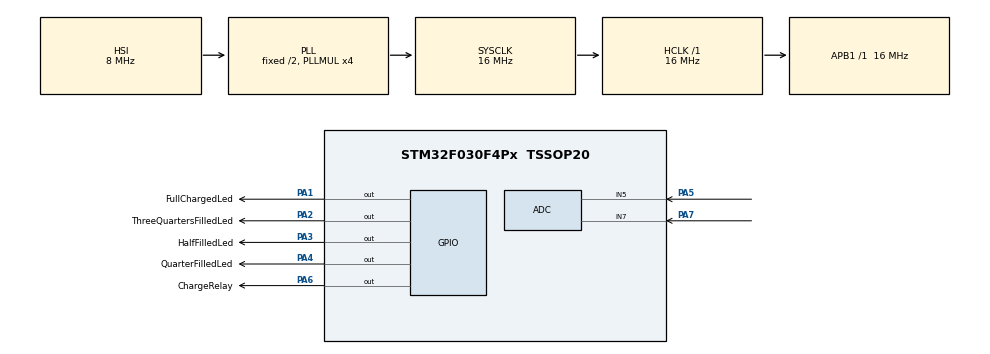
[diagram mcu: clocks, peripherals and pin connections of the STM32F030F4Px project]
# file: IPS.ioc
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ADC.ContinuousConvMode=ENABLE
ADC.DMAContinuousRequests=ENABLE
ADC.SamplingTime=ADC_SAMPLETIME_239CYCLES_5
Dma.ADC.0.Direction=DMA_PERIPH_TO_MEMORY
Dma.ADC.0.Instance=DMA1_Channel1
Dma.ADC.0.MemDataAlignment=DMA_MDATAALIGN_WORD
Dma.ADC.0.MemInc=DMA_MINC_ENABLE
Dma.ADC.0.Mode=DMA_CIRCULAR
Dma.ADC.0.PeriphDataAlignment=DMA_PDATAALIGN_WORD
Dma.ADC.0.PeriphInc=DMA_PINC_DISABLE
Dma.ADC.0.Priority=DMA_PRIORITY_LOW
Dma.Request0=ADC
Mcu.Family=STM32F0
Mcu.Name=STM32F030F4Px
Mcu.Package=TSSOP20
NVIC.DMA1_Channel1_IRQn=true\:0\:0\:false\:false\:true\:false\:true\:true
PA1.GPIO_Label=FullChargedLed
PA1.PinState=GPIO_PIN_RESET
PA1.Signal=GPIO_Output
PA13.Mode=Serial_Wire
PA13.Signal=SYS_SWDIO
PA14.Mode=Serial_Wire
PA14.Signal=SYS_SWCLK
PA2.GPIO_Label=ThreeQuartersFilledLed
PA2.Signal=GPIO_Output
PA3.GPIO_Label=HalfFilledLed
PA3.Signal=GPIO_Output
PA4.GPIO_Label=QuarterFilledLed
PA4.PinState=GPIO_PIN_RESET
PA4.Signal=GPIO_Output
PA5.Mode=IN5
PA5.Signal=ADC_IN5
PA6.GPIO_Label=ChargeRelay
PA6.Signal=GPIO_Output
PA7.Mode=IN7
PA7.Signal=ADC_IN7
ProjectManager.HeapSize=0x200
ProjectManager.StackSize=0x400
ProjectManager.TargetToolchain=STM32CubeIDE
RCC.AHBFreq_Value=16000000
RCC.APB1Freq_Value=16000000
RCC.APB1TimFreq_Value=16000000
RCC.HCLKFreq_Value=16000000
RCC.PLLMUL=RCC_PLL_MUL4
RCC.SYSCLKFreq_VALUE=16000000
RCC.SYSCLKSource=RCC_SYSCLKSOURCE_PLLCLK
board=custom

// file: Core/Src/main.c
/* USER CODE BEGIN Header */
/**
  ******************************************************************************
  * @file           : main.c
  * @brief          : Main program body
  ******************************************************************************
  * @attention
  *
  * Copyright (c) 2022 STMicroelectronics.
  * All rights reserved.
  *
  * This software is licensed under terms that can be found in the LICENSE file
  * in the root directory of this software component.
  * If no LICENSE file comes with this software, it is provided AS-IS.
  *
  ******************************************************************************
  */
/* USER CODE END Header */
#include "main.h"

/* USER CODE BEGIN PTD */
uint32_t value[2];
uint8_t Charging;
uint32_t StartChargingTime;

uint32_t Voltage;

/* USER CODE END PTD */

 ADC_HandleTypeDef hadc;
DMA_HandleTypeDef hdma_adc;

void SystemClock_Config(void);
static void MX_GPIO_Init(void);
static void MX_DMA_Init(void);
static void MX_ADC_Init(void);

/* USER CODE BEGIN 0 */
void StartCharging(){
	HAL_GPIO_WritePin(ChargeRelay_GPIO_Port, ChargeRelay_Pin, GPIO_PIN_SET);
	Charging=1;
	StartChargingTime=HAL_GetTick();
}

void StopCharging(){
	HAL_GPIO_WritePin(ChargeRelay_GPIO_Port, ChargeRelay_Pin, GPIO_PIN_RESET);
	Charging=0;
}

/* USER CODE END 0 */

int main(void)
{

  /* MCU Configuration--------------------------------------------------------*/

  /* Reset of all peripherals, Initializes the Flash interface and the Systick. */
  HAL_Init();

  /* Configure the system clock */
  SystemClock_Config();

  /* Initialize all configured peripherals */
  MX_GPIO_Init();
  MX_DMA_Init();
  MX_ADC_Init();
  /* USER CODE BEGIN 2 */
//  HAL_GPIO_TogglePin(GPIOA, GPIO_PIN_4);
//  HAL_Delay(1000);
//  HAL_GPIO_TogglePin(GPIOA, GPIO_PIN_4);
//  HAL_Delay(1000);

  HAL_ADC_Start_DMA(&hadc, value, 2);
  HAL_ADCEx_Calibration_Start(&hadc);

  HAL_GPIO_WritePin(QuarterFilledLed_GPIO_Port, QuarterFilledLed_Pin, GPIO_PIN_SET);
//  StartCharging();

  /* USER CODE END 2 */

  /* Infinite loop */
  /* USER CODE BEGIN WHILE */

/////!!!!!!!!!!!!!!!!!!!!!! Hamid's Important Note !!!!!!!!!!!!!!!!!!!!!!!!!!!!!!!!!
//the main clock speed has to be higher than the adc clock speed otherwise the loop will halt

  while (1)
  {

	  Voltage=42*(330/4)*value[0];

	  if (Charging && HAL_GetTick()-StartChargingTime>120000)
	  {
		  StopCharging();
	  }

	  if (!Charging)
	  {
	  if (value[0]<3300)
	  {
		 HAL_GPIO_WritePin(FullChargedLed_GPIO_Port, FullChargedLed_Pin, GPIO_PIN_RESET);
	  }

	  if (value[0]<3250)
	  {
		 HAL_GPIO_WritePin(ThreeQuartersFilledLed_GPIO_Port, ThreeQuartersFilledLed_Pin, GPIO_PIN_RESET);
	  }

	  if (value[0]<3200)
	  {
		 HAL_GPIO_WritePin(HalfFilledLed_GPIO_Port, HalfFilledLed_Pin, GPIO_PIN_RESET);
	  }

	  if (value[0]>3300)
	  {
//		 HAL_GPIO_WritePin(ChargeRelay_GPIO_Port, ChargeRelay_Pin, GPIO_PIN_RESET);
		 HAL_GPIO_WritePin(FullChargedLed_GPIO_Port, FullChargedLed_Pin, GPIO_PIN_SET);
	  }

	  if (value[0]>3250)
	  {
		 HAL_GPIO_WritePin(ThreeQuartersFilledLed_GPIO_Port, ThreeQuartersFilledLed_Pin, GPIO_PIN_SET);
	  }

	  if (value[0]>3200)
	  {
		 HAL_GPIO_WritePin(HalfFilledLed_GPIO_Port, HalfFilledLed_Pin, GPIO_PIN_SET);
	  }

	  if (value[0]<3600)
	  {
		 StartCharging();
	  }

	  }

    /* USER CODE END WHILE */

  }
}

void SystemClock_Config(void)
{
  RCC_OscInitTypeDef RCC_OscInitStruct = {0};
  RCC_ClkInitTypeDef RCC_ClkInitStruct = {0};

  /** Initializes the RCC Oscillators according to the specified parameters
  * in the RCC_OscInitTypeDef structure.
  */
  RCC_OscInitStruct.OscillatorType = RCC_OSCILLATORTYPE_HSI|RCC_OSCILLATORTYPE_HSI14;
  RCC_OscInitStruct.HSIState = RCC_HSI_ON;
  RCC_OscInitStruct.HSI14State = RCC_HSI14_ON;
  RCC_OscInitStruct.HSICalibrationValue = RCC_HSICALIBRATION_DEFAULT;
  RCC_OscInitStruct.HSI14CalibrationValue = 16;
  RCC_OscInitStruct.PLL.PLLState = RCC_PLL_ON;
  RCC_OscInitStruct.PLL.PLLSource = RCC_PLLSOURCE_HSI;
  RCC_OscInitStruct.PLL.PLLMUL = RCC_PLL_MUL4;
  RCC_OscInitStruct.PLL.PREDIV = RCC_PREDIV_DIV1;
  if (HAL_RCC_OscConfig(&RCC_OscInitStruct) != HAL_OK)
  {
    Error_Handler();
  }

  /** Initializes the CPU, AHB and APB buses clocks
  */
  RCC_ClkInitStruct.ClockType = RCC_CLOCKTYPE_HCLK|RCC_CLOCKTYPE_SYSCLK
                              |RCC_CLOCKTYPE_PCLK1;
  RCC_ClkInitStruct.SYSCLKSource = RCC_SYSCLKSOURCE_PLLCLK;
  RCC_ClkInitStruct.AHBCLKDivider = RCC_SYSCLK_DIV1;
  RCC_ClkInitStruct.APB1CLKDivider = RCC_HCLK_DIV1;

  if (HAL_RCC_ClockConfig(&RCC_ClkInitStruct, FLASH_LATENCY_0) != HAL_OK)
  {
    Error_Handler();
  }
}

static void MX_ADC_Init(void)
{

  ADC_ChannelConfTypeDef sConfig = {0};

  /** Configure the global features of the ADC (Clock, Resolution, Data Alignment and number of conversion)
  */
  hadc.Instance = ADC1;
  hadc.Init.ClockPrescaler = ADC_CLOCK_ASYNC_DIV1;
  hadc.Init.Resolution = ADC_RESOLUTION_12B;
  hadc.Init.DataAlign = ADC_DATAALIGN_RIGHT;
  hadc.Init.ScanConvMode = ADC_SCAN_DIRECTION_FORWARD;
  hadc.Init.EOCSelection = ADC_EOC_SINGLE_CONV;
  hadc.Init.LowPowerAutoWait = DISABLE;
  hadc.Init.LowPowerAutoPowerOff = DISABLE;
  hadc.Init.ContinuousConvMode = ENABLE;
  hadc.Init.DiscontinuousConvMode = DISABLE;
  hadc.Init.ExternalTrigConv = ADC_SOFTWARE_START;
  hadc.Init.ExternalTrigConvEdge = ADC_EXTERNALTRIGCONVEDGE_NONE;
  hadc.Init.DMAContinuousRequests = ENABLE;
  hadc.Init.Overrun = ADC_OVR_DATA_PRESERVED;
  if (HAL_ADC_Init(&hadc) != HAL_OK)
  {
    Error_Handler();
  }

  /** Configure for the selected ADC regular channel to be converted.
  */
  sConfig.Channel = ADC_CHANNEL_5;
  sConfig.Rank = ADC_RANK_CHANNEL_NUMBER;
  sConfig.SamplingTime = ADC_SAMPLETIME_239CYCLES_5;
  if (HAL_ADC_ConfigChannel(&hadc, &sConfig) != HAL_OK)
  {
    Error_Handler();
  }

  /** Configure for the selected ADC regular channel to be converted.
  */
  sConfig.Channel = ADC_CHANNEL_7;
  if (HAL_ADC_ConfigChannel(&hadc, &sConfig) != HAL_OK)
  {
    Error_Handler();
  }

}

static void MX_DMA_Init(void)
{

  /* DMA controller clock enable */
  __HAL_RCC_DMA1_CLK_ENABLE();

  /* DMA interrupt init */
  /* DMA1_Channel1_IRQn interrupt configuration */
  HAL_NVIC_SetPriority(DMA1_Channel1_IRQn, 0, 0);
  HAL_NVIC_EnableIRQ(DMA1_Channel1_IRQn);

}

static void MX_GPIO_Init(void)
{
  GPIO_InitTypeDef GPIO_InitStruct = {0};

  /* GPIO Ports Clock Enable */
  __HAL_RCC_GPIOA_CLK_ENABLE();

  /*Configure GPIO pin Output Level */
  HAL_GPIO_WritePin(GPIOA, FullChargedLed_Pin|ThreeQuartersFilledLed_Pin|HalfFilledLed_Pin|QuarterFilledLed_Pin
                          |ChargeRelay_Pin, GPIO_PIN_RESET);

  /*Configure GPIO pins : FullChargedLed_Pin ThreeQuartersFilledLed_Pin HalfFilledLed_Pin QuarterFilledLed_Pin
                           ChargeRelay_Pin */
  GPIO_InitStruct.Pin = FullChargedLed_Pin|ThreeQuartersFilledLed_Pin|HalfFilledLed_Pin|QuarterFilledLed_Pin
                          |ChargeRelay_Pin;
  GPIO_InitStruct.Mode = GPIO_MODE_OUTPUT_PP;
  GPIO_InitStruct.Pull = GPIO_NOPULL;
  GPIO_InitStruct.Speed = GPIO_SPEED_FREQ_LOW;
  HAL_GPIO_Init(GPIOA, &GPIO_InitStruct);

}

void Error_Handler(void)
{
  __disable_irq();
  while (1)
  {
  }
}
